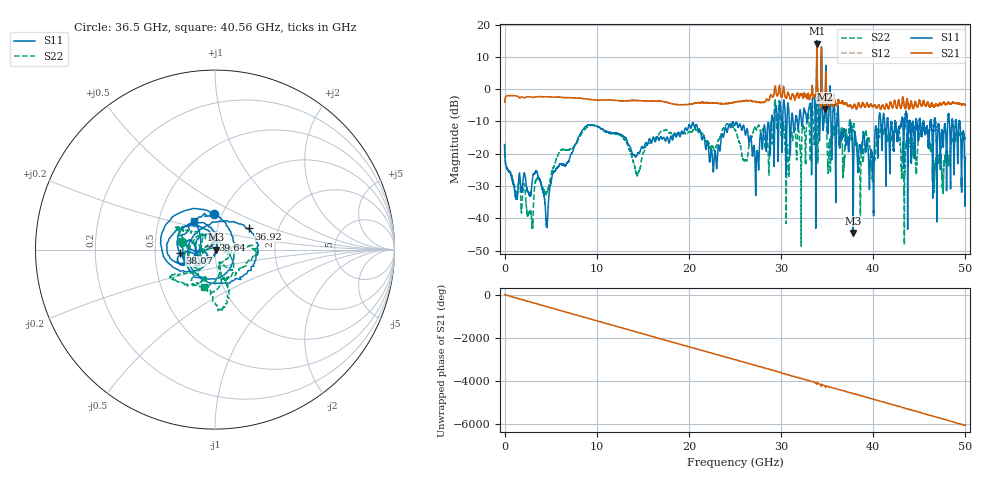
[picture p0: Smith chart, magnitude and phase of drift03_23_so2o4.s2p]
!Created with skrf (http://scikit-rf.org).
# Hz S RI R 50.0
!freq ReS11 ImS11 ReS21 ImS21 ReS12 ImS12 ReS22 ImS22
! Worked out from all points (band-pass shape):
!   10001 points, 300 kHz to 50 GHz, reference 50 ohm
!   highest |S21| = 14.11 dB at 33.88 GHz (marker M1); lowest = -6.2 dB at 34.79 GHz (marker M2)
!   |S21| within 3 dB of the highest: 33.86955 GHz to 33.889 GHz (19.46 MHz wide, 0.0574 % of centre); 34.3768 GHz to 34.3904 GHz (13.6 MHz wide, 0.0396 % of centre)
!   lowest |S11| = -44.5 dB at 37.83 GHz (marker M3), VSWR 1.01, Z = 50.6 + j0.0231 ohm
!   |S11| at or under -10 dB: start of sweep to 28.94 GHz; 36.27 GHz to 40.61 GHz (4.343 GHz wide, 11.3 % of centre); 46.75 GHz to 48.09 GHz (1.336 GHz wide, 2.82 % of centre) (the widest 3 of 59)
!   |S22| runs from -48.6 to 10.6 dB; largest |S21 - S12| = 0.82
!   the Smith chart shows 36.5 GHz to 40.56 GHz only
!   S11 on the Smith chart (normalised r, x): 36.5 GHz: 0.92, +0.38; 36.92 GHz: 1.41, +0.35; 38.07 GHz: 0.67, -0.03; 39.64 GHz: 0.97, +0.11; 40.56 GHz: 0.76, +0.25
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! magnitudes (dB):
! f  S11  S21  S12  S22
! 300 kHz  -17.3  -4.0  -4.0  -16.9
! 2.825 GHz  -32.6  -2.4  -2.4  -38.4
! 4.565 GHz  -41.9  -2.3  -2.4  -32.1
! 8.335 GHz  -13.1  -2.8  -2.8  -13.9
! 14.43 GHz  -20.0  -3.5  -3.5  -26.4
! 16.67 GHz  -15.5  -3.7  -3.7  -14.3
! 22.82 GHz  -19.3  -4.3  -4.3  -19.2
! 25 GHz  -11.0  -4.0  -4.0  -12.6
! 27.39 GHz  -19.4  -4.1  -4.1  -12.4
! 29.6 GHz  -10.4  -2.0  -2.1  -11.8
! 30.7 GHz  -5.6  -1.4  -1.5  -17.2
! 33.34 GHz  -13.8  -0.4  -0.6  -7.2
! 33.88 GHz  15.1  14.1  13.8  10.6
! 34.79 GHz  -3.3  -6.2  -4.9  -8.6
! 36.5 GHz  -14.1  -4.4  -4.4  -14.4
! 36.92 GHz  -13.1  -4.4  -4.4  -17.6
! 37.83 GHz  -44.5  -5.5  -5.5  -11.4
! 38.07 GHz  -14.1  -5.4  -5.4  -17.4
! 39.64 GHz  -25.1  -5.0  -4.9  -17.8
! 40.56 GHz  -14.2  -4.9  -4.9  -13.2
! 41.67 GHz  -12.2  -6.0  -6.0  -15.2
! 50 GHz  -21.2  -4.8  -4.9  -15.2
